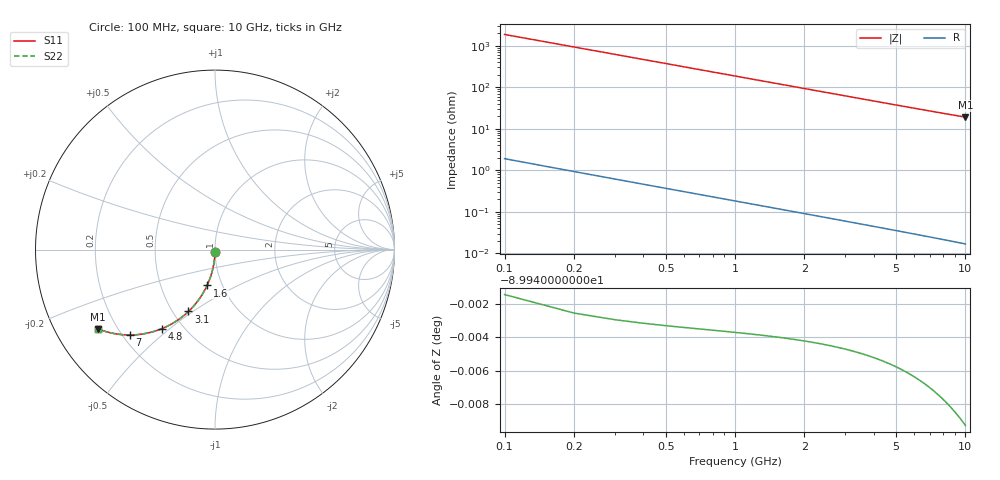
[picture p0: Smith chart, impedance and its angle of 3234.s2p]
# Hz S RI R 50.00
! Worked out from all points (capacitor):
!   100 points, 100 MHz to 10 GHz, reference 50 ohm
!   read as one part in shunt: C = 852 fF near 100 MHz
!   lowest |Z| = 19.1 ohm at 10 GHz (marker M1)
!   S11 on the Smith chart (normalised r, x): 100 MHz: 1.00, -0.03; 1.6 GHz: 0.85, -0.35; 3.1 GHz: 0.60, -0.48; 4.8 GHz: 0.38, -0.47; 7 GHz: 0.23, -0.40; 10 GHz: 0.13, -0.30
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1e8  -0.000124 -0.0131  0.9997 -0.0137  0.9997 -0.0137  -0.000124 -0.0131
2e8  -0.000673 -0.0261  0.9992 -0.0274  0.9992 -0.0274  -0.000673 -0.0261
3e8  -0.00158 -0.0391  0.9983 -0.041  0.9983 -0.041  -0.00158 -0.0391
4e8  -0.00284 -0.0521  0.997 -0.0546  0.997 -0.0546  -0.00284 -0.0521
5e8  -0.00445 -0.065  0.9954 -0.0682  0.9954 -0.0682  -0.00445 -0.065
6e8  -0.00641 -0.0778  0.9934 -0.0817  0.9934 -0.0817  -0.00641 -0.0778
7e8  -0.00872 -0.0906  0.9911 -0.0951  0.9911 -0.0951  -0.00872 -0.0906
9e8  -0.0143 -0.1158  0.9855 -0.1216  0.9855 -0.1216  -0.0143 -0.1158
1.2e9  -0.0252 -0.1527  0.9746 -0.1604  0.9746 -0.1604  -0.0252 -0.1527
1.6e9  -0.044 -0.1997  0.9558 -0.21  0.9558 -0.21  -0.044 -0.1997
1.8e9  -0.0551 -0.222  0.9447 -0.2336  0.9447 -0.2336  -0.0551 -0.222
2.4e9  -0.094 -0.2837  0.9058 -0.2992  0.9058 -0.2992  -0.094 -0.2837
3.1e9  -0.1477 -0.3445  0.8519 -0.3646  0.8519 -0.3646  -0.1477 -0.3445
3.4e9  -0.1727 -0.3666  0.8269 -0.3887  0.8269 -0.3887  -0.1727 -0.3666
4.1e9  -0.2332 -0.4092  0.7662 -0.4359  0.7662 -0.4359  -0.2332 -0.4092
4.8e9  -0.2948 -0.4399  0.7046 -0.4713  0.7046 -0.4713  -0.2948 -0.4399
5.1e9  -0.3209 -0.4498  0.6784 -0.4831  0.6784 -0.4831  -0.3209 -0.4498
5.9e9  -0.3882 -0.4676  0.6109 -0.5063  0.6109 -0.5063  -0.3882 -0.4676
6.7e9  -0.4509 -0.475  0.548 -0.5192  0.548 -0.5192  -0.4509 -0.475
7e9  -0.473 -0.4757  0.5258 -0.5219  0.5258 -0.5219  -0.473 -0.4757
8.4e9  -0.5654 -0.4671  0.4329 -0.523  0.4329 -0.523  -0.5654 -0.4671
1e10  -0.6502 -0.4424  0.3473 -0.5096  0.3473 -0.5096  -0.6502 -0.4424
